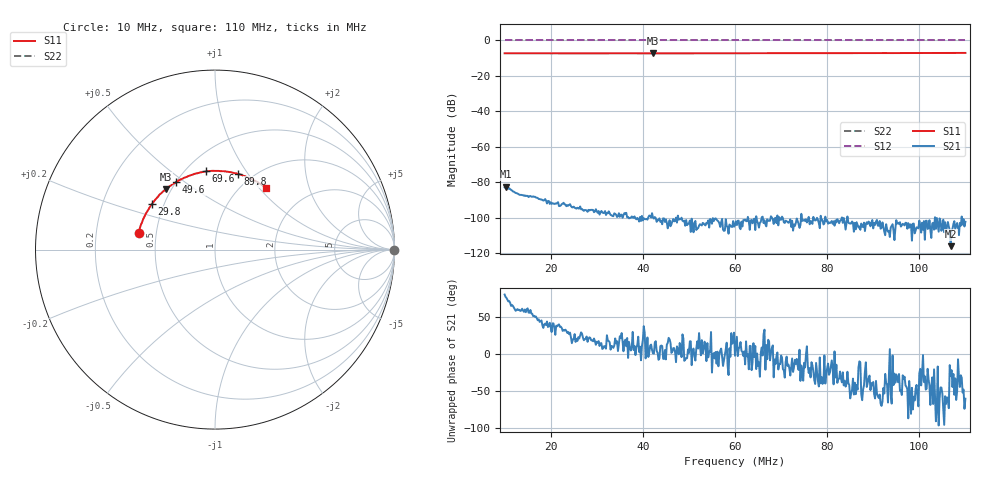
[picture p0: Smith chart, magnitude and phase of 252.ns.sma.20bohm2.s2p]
! Anritsu VNA Master:  Model: MS2036C/10/77
! SN:  1601066
! /card0/usr/ns.20bohm2.s2p
! Existing Calibration Information:
! TYPE:  Current Settings,  Active Cal Settings
! TIME:  12/21/2017 05:21:19 PM,  12/21/2017 05:13:10 PM
! INTERNAL TEMP:  39.5 C,  40.0 C
! # POINTS:  501,  501
! START FREQ:  10.000 MHz,  10.000 MHz
! STOP FREQ:  110.000 MHz,  110.000 MHz
! SOURCE POWER:  High,  High
! IFBW:  100 Hz,  100 Hz
! AVG FACTOR:  1 ,  1
! REF PLANE 1:  0 mm,  0 mm
! REF PLANE 2:  0 mm,  0 mm
! CAL TYPE:  Full S11,  Full S11
! CAL METHOD:  SOLT,  SOLT
! CAL LINE TYPE:  Coax,  Coax
! DUT PORT 1:  K-Conn(F),  K-Conn(F)
! DUT PORT 2:  K-Conn(F),  K-Conn(F)
! CAL STATUS:  OK: Accuracy High,  --
# GHZ S DB R 50.0
! FREQ.GHZ  S11DB  S11A  S21DB  S21A  S12DB  S12A  S22DB  S22A
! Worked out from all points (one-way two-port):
!   501 points, 10 MHz to 110 MHz, reference 50 ohm
!   highest |S21| = -82.38 dB at 10.2 MHz (marker M1); lowest = -115.9 dB at 106.8 MHz (marker M2)
!   lowest |S11| = -7.3 dB at 42.2 MHz (marker M3), VSWR 2.53, Z = 23.5 + j19.4 ohm
!   |S11| at or under -10 dB: nowhere
!   |S22| runs from 0.0 to 0.0 dB; largest |S21 - S12| = 1
!   S11 on the Smith chart (normalised r, x): 10 MHz: 0.40, +0.09; 29.8 MHz: 0.43, +0.27; 49.6 MHz: 0.50, +0.46; 69.6 MHz: 0.62, +0.67; 89.8 MHz: 0.86, +0.90; 110 MHz: 1.27, +1.09
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0.01  -7.21 167.6  -82.75 80.5  0.00 0.0  0.00 0.0
0.0102  -7.20 167.4  -82.38 77.4  0.00 0.0  0.00 0.0
0.0142  -7.23 162.5  -87.54 57.3  0.00 0.0  0.00 0.0
0.019  -7.24 156.6  -90.33 39.3  0.00 0.0  0.00 0.0
0.0268  -7.27 147.2  -94.99 27.7  0.00 0.0  0.00 0.0
0.0298  -7.25 143.8  -95.10 12.7  0.00 0.0  0.00 0.0
0.0364  -7.23 135.8  -97.15 10.7  0.00 0.0  0.00 0.0
0.0422  -7.28 129.0  -99.84 1.1  0.00 0.0  0.00 0.0
0.0434  -7.25 127.4  -101.35 -7.5  0.00 0.0  0.00 0.0
0.0472  -7.24 122.8  -99.84 -10.7  0.00 0.0  0.00 0.0
0.0496  -7.25 120.1  -104.08 -5.5  0.00 0.0  0.00 0.0
0.0548  -7.22 113.9  -101.38 30.0  0.00 0.0  0.00 0.0
0.06  -7.21 107.9  -104.10 -2.0  0.00 0.0  0.00 0.0
0.0656  -7.18 101.2  -102.23 2.2  0.00 0.0  0.00 0.0
0.0696  -7.15 96.8  -99.57 -13.2  0.00 0.0  0.00 0.0
0.0768  -7.16 88.6  -103.39 -14.8  0.00 0.0  0.00 0.0
0.0844  -7.13 79.7  -99.19 -23.7  0.00 0.0  0.00 0.0
0.0898  -7.12 73.4  -101.19 -42.0  0.00 0.0  0.00 0.0
0.0934  -7.12 69.3  -107.30 -28.1  0.00 0.0  0.00 0.0
0.0998  -7.07 61.7  -105.90 -70.3  0.00 0.0  0.00 0.0
0.1068  -7.04 54.0  -115.94 -29.6  0.00 0.0  0.00 0.0
0.11  -7.02 50.6  -102.18 -60.0  0.00 0.0  0.00 0.0
